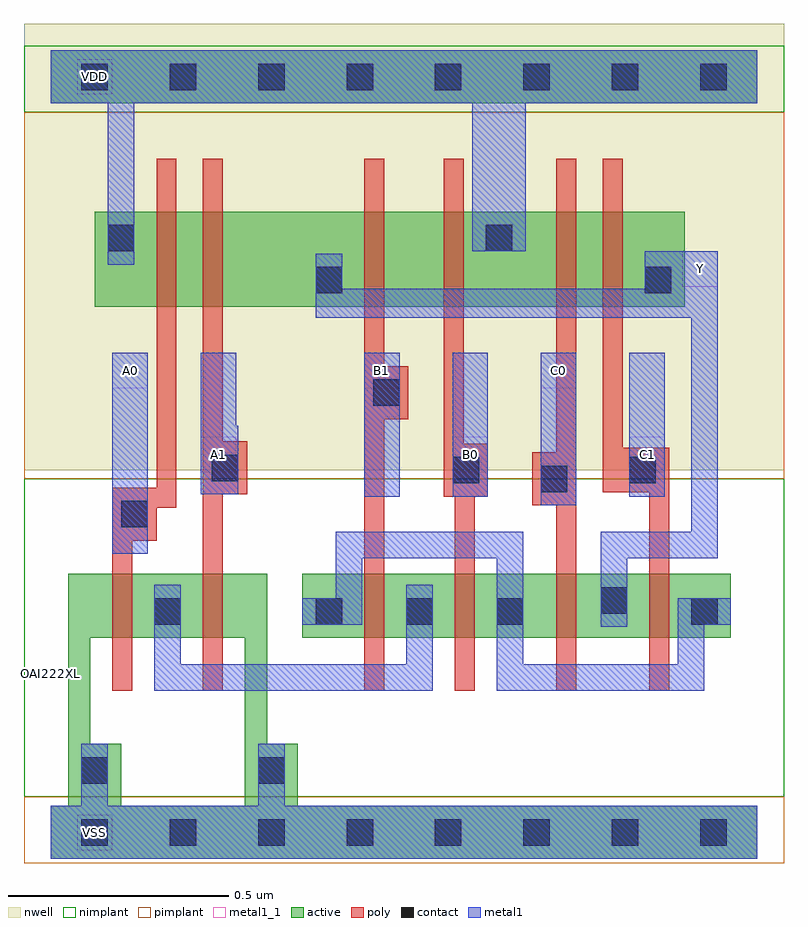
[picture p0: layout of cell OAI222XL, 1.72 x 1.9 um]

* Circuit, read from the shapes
.subckt OAI222XL A0 A1 B0 B1 C0 C1 VDD VSS Y
M1 n1 A0 VSS VSS nfet w=0.145u l=0.045u
M2 VSS A1 n1 VSS nfet w=0.145u l=0.045u
M3 n1 B1 n2 VSS nfet w=0.145u l=0.045u
M4 n2 B0 n1 VSS nfet w=0.145u l=0.045u
M5 Y C0 n2 VSS nfet w=0.145u l=0.045u
M6 n2 C1 Y VSS nfet w=0.145u l=0.045u
M7 n3 A0 VDD VDD pfet w=0.215u l=0.045u
M8 Y A1 n3 VDD pfet w=0.215u l=0.045u
M9 n4 B1 Y VDD pfet w=0.215u l=0.045u
M10 VDD B0 n4 VDD pfet w=0.215u l=0.045u
M11 n5 C0 VDD VDD pfet w=0.215u l=0.045u
M12 Y C1 n5 VDD pfet w=0.215u l=0.045u
.ends

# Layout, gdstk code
import gdstk
lib = gdstk.Library(unit=1e-6, precision=5e-10)
def R(c, l, rs):  # rectangles x0, y0, x1, y1
    for r in rs: c.add(gdstk.rectangle(r[:2], r[2:], *l))
def A(c, l, x, y, w, h, nx, ny, dx, dy):  # array of equal rectangles
    R(c, l, [(x+i*dx, y+j*dy, x+i*dx+w, y+j*dy+h) for i in range(nx) for j in range(ny)])
def P(c, l, *ps):  # polygons
    for p in ps: c.add(gdstk.Polygon(p, *l))
active = (1, 0)
nwell = (2, 0)
poly = (3, 0)
nimplant = (4, 0)
pimplant = (5, 0)
contact = (6, 0)
metal1 = (7, 0)
metal1_1 = (7, 1)

oai222xl = lib.new_cell('OAI222XL')
R(oai222xl, active, [(0.57,0.44,1.54,0.585), (0.1,1.19,1.435,1.405), (0,1.65,1.6,1.77)])
P(oai222xl, active, [(0.04,0.585),(0.49,0.585),(0.49,0.2),(0.56,0.2),(0.56,0.06),(1.6,0.06),(1.6,-0.06),(0,-0.06),(0,0.06),(0.04,0.06),(0.04,0.44),(0.09,0.44),(0.09,0.2),(0.16,0.2),(0.16,0.06),(0.44,0.06),(0.44,0.44),(0.04,0.44)])
R(oai222xl, nwell, [(-0.06,0.82,1.66,1.83)])
P(oai222xl, poly, [(0.24,1.525),(0.285,1.525),(0.285,0.735),(0.24,0.735),(0.24,0.66),(0.185,0.66),(0.185,0.32),(0.14,0.32),(0.14,0.78),(0.24,0.78)],
  [(0.345,1.525),(0.39,1.525),(0.39,0.885),(0.445,0.885),(0.445,0.765),(0.39,0.765),(0.39,0.32),(0.345,0.32)],
  [(0.71,1.525),(0.755,1.525),(0.755,1.055),(0.81,1.055),(0.81,0.935),(0.755,0.935),(0.755,0.32),(0.71,0.32)],
  [(0.89,1.525),(0.935,1.525),(0.935,0.88),(0.99,0.88),(0.99,0.76),(0.96,0.76),(0.96,0.32),(0.915,0.32),(0.915,0.76),(0.89,0.76)],
  [(1.145,1.525),(1.19,1.525),(1.19,0.32),(1.145,0.32),(1.145,0.74),(1.09,0.74),(1.09,0.86),(1.145,0.86)],
  [(1.25,1.525),(1.295,1.525),(1.295,0.87),(1.4,0.87),(1.4,0.32),(1.355,0.32),(1.355,0.77),(1.25,0.77)])
R(oai222xl, nimplant, [(-0.06,0.08,1.66,0.8), (-0.06,1.63,1.66,1.78)])
R(oai222xl, pimplant, [(-0.06,-0.07,1.66,0.08), (-0.06,0.8,1.66,1.63)])
A(oai222xl, contact, 0.07, -0.03, 0.06, 0.06, 8, 2, 0.2, 1.71)
A(oai222xl, contact, 0.6, 0.47, 0.06, 0.06, 3, 1, 0.205, 0)
R(oai222xl, contact, [(0.07,0.11,0.13,0.17), (0.47,0.11,0.53,0.17), (0.235,0.47,0.295,0.53), (1.45,0.47,1.51,0.53), (1.245,0.495,1.305,0.555), (0.16,0.69,0.22,0.75), (1.11,0.77,1.17,0.83), (0.91,0.79,0.97,0.85), (1.31,0.79,1.37,0.85), (0.365,0.795,0.425,0.855), (0.73,0.965,0.79,1.025), (0.6,1.22,0.66,1.28), (1.345,1.22,1.405,1.28), (0.13,1.315,0.19,1.375), (0.985,1.315,1.045,1.375)])
R(oai222xl, metal1, [(0.235,0.32,0.865,0.38), (0.805,0.325,0.865,0.56), (0.235,0.33,0.295,0.56), (0.14,0.63,0.22,1.085), (1.11,0.74,1.19,1.085), (0.71,0.76,0.79,1.085), (0.91,0.76,0.99,1.085), (1.31,0.76,1.39,1.085)])
P(oai222xl, metal1, [(1.07,0.62),(0.705,0.62),(0.705,0.47),(0.57,0.47),(0.57,0.53),(0.645,0.53),(0.645,0.68),(1.07,0.68)],
  [(0,1.77),(1.6,1.77),(1.6,1.65),(1.075,1.65),(1.075,1.315),(0.955,1.315),(0.955,1.65),(0.19,1.65),(0.19,1.285),(0.13,1.285),(0.13,1.65),(0,1.65)],
  [(0.6,1.31),(0.66,1.31),(0.66,1.23),(1.345,1.23),(1.345,1.315),(1.51,1.315),(1.51,0.62),(1.305,0.62),(1.305,0.465),(1.245,0.465),(1.245,0.68),(1.45,0.68),(1.45,1.165),(0.6,1.165)],
  [(0.34,1.085),(0.42,1.085),(0.42,0.92),(0.425,0.92),(0.425,0.765),(0.34,0.765)],
  [(1.54,0.53),(1.42,0.53),(1.42,0.38),(1.07,0.38),(1.07,0.68),(1.01,0.68),(1.01,0.32),(1.48,0.32),(1.48,0.47),(1.54,0.47)],
  [(0.07,0.2),(0.13,0.2),(0.13,0.06),(0.47,0.06),(0.47,0.2),(0.53,0.2),(0.53,0.06),(1.6,0.06),(1.6,-0.06),(0,-0.06),(0,0.06),(0.07,0.06)])
R(oai222xl, metal1_1, [(0.06,-0.04,0.14,0.04), (0.34,0.815,0.42,0.895), (0.91,0.815,0.99,0.895), (1.31,0.815,1.39,0.895), (0.14,1.005,0.22,1.085), (0.71,1.005,0.79,1.085), (1.11,1.005,1.19,1.085), (1.43,1.235,1.51,1.315), (0.06,1.67,0.14,1.75)])
oai222xl.add(gdstk.Label('VSS', (0.1,0), layer=7, texttype=1))
oai222xl.add(gdstk.Label('Y', (1.47,1.275), layer=7, texttype=1))
oai222xl.add(gdstk.Label('B1', (0.75,1.045), layer=7, texttype=1))
oai222xl.add(gdstk.Label('A0', (0.18,1.045), layer=7, texttype=1))
oai222xl.add(gdstk.Label('C0', (1.15,1.045), layer=7, texttype=1))
oai222xl.add(gdstk.Label('A1', (0.38,0.855), layer=7, texttype=1))
oai222xl.add(gdstk.Label('C1', (1.35,0.855), layer=7, texttype=1))
oai222xl.add(gdstk.Label('B0', (0.95,0.855), layer=7, texttype=1))
oai222xl.add(gdstk.Label('VDD', (0.1,1.71), layer=7, texttype=1))
oai222xl.add(gdstk.Label('OAI222XL', (0,0.36), layer=63, texttype=0))

lib.write_gds('OAI222XL.gds')
